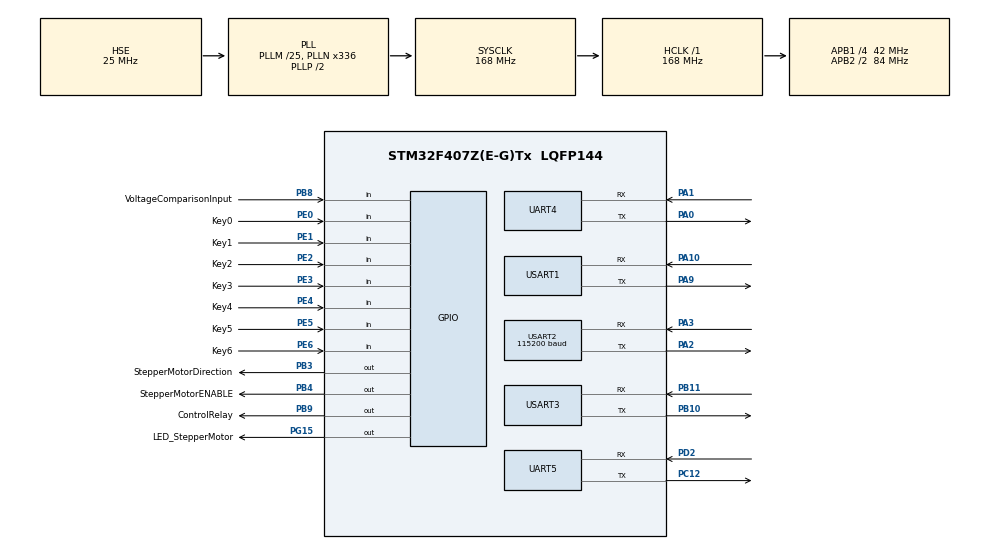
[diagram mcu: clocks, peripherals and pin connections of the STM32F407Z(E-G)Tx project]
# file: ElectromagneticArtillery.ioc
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Mcu.Family=STM32F4
Mcu.Name=STM32F407Z(E-G)Tx
Mcu.Package=LQFP144
NVIC.PriorityGroup=NVIC_PRIORITYGROUP_4
NVIC.TIM6_DAC_IRQn=true\:0\:0\:true\:false\:true\:true\:true
NVIC.UART4_IRQn=true\:3\:0\:true\:false\:true\:true\:true
NVIC.UART5_IRQn=true\:1\:0\:true\:false\:true\:true\:true
NVIC.USART2_IRQn=true\:0\:0\:true\:false\:true\:true\:true
NVIC.USART3_IRQn=true\:2\:0\:true\:false\:true\:true\:true
PA0-WKUP.Mode=Asynchronous
PA0-WKUP.Signal=UART4_TX
PA1.Mode=Asynchronous
PA1.Signal=UART4_RX
PA10.Mode=Asynchronous
PA10.Signal=USART1_RX
PA2.Mode=Asynchronous
PA2.Signal=USART2_TX
PA3.Mode=Asynchronous
PA3.Signal=USART2_RX
PA9.Mode=Asynchronous
PA9.Signal=USART1_TX
PB10.Mode=Asynchronous
PB10.Signal=USART3_TX
PB11.Mode=Asynchronous
PB11.Signal=USART3_RX
PB3.GPIO_Label=StepperMotorDirection
PB3.Signal=GPIO_Output
PB4.GPIO_Label=StepperMotorENABLE
PB4.PinState=GPIO_PIN_SET
PB4.Signal=GPIO_Output
PB8.GPIO_Label=VoltageComparisonInput
PB8.GPIO_PuPd=GPIO_PULLUP
PB8.Signal=GPIO_Input
PB9.GPIO_Label=ControlRelay
PB9.GPIO_PuPd=GPIO_NOPULL
PB9.PinState=GPIO_PIN_SET
PB9.Signal=GPIO_Output
PC12.Mode=Asynchronous
PC12.Signal=UART5_TX
PD2.Mode=Asynchronous
PD2.Signal=UART5_RX
PE0.GPIO_Label=Key0
PE0.GPIO_PuPd=GPIO_PULLUP
PE0.Signal=GPIO_Input
PE1.GPIO_Label=Key1
PE1.GPIO_PuPd=GPIO_PULLUP
PE1.Signal=GPIO_Input
PE2.GPIO_Label=Key2
PE2.GPIO_PuPd=GPIO_PULLUP
PE2.Signal=GPIO_Input
PE3.GPIO_Label=Key3
PE3.GPIO_PuPd=GPIO_PULLUP
PE3.Signal=GPIO_Input
PE4.GPIO_Label=Key4
PE4.GPIO_PuPd=GPIO_PULLUP
PE4.Signal=GPIO_Input
PE5.GPIO_Label=Key5
PE5.GPIO_PuPd=GPIO_PULLUP
PE5.Signal=GPIO_Input
PE6.GPIO_Label=Key6
PE6.GPIO_PuPd=GPIO_PULLUP
PE6.Signal=GPIO_Input
PG15.GPIO_Label=LED_StepperMotor
PG15.PinState=GPIO_PIN_SET
PG15.Signal=GPIO_Output
PH0-OSC_IN.Mode=HSE-External-Oscillator
PH0-OSC_IN.Signal=RCC_OSC_IN
PH1-OSC_OUT.Mode=HSE-External-Oscillator
PH1-OSC_OUT.Signal=RCC_OSC_OUT
ProjectManager.HeapSize=0x200
ProjectManager.StackSize=0x400
ProjectManager.TargetToolchain=SW4STM32
RCC.48MHZClocksFreq_Value=84000000
RCC.AHBFreq_Value=168000000
RCC.APB1CLKDivider=RCC_HCLK_DIV4
RCC.APB1Freq_Value=42000000
RCC.APB1TimFreq_Value=84000000
RCC.APB2CLKDivider=RCC_HCLK_DIV2
RCC.APB2Freq_Value=84000000
RCC.APB2TimFreq_Value=168000000
RCC.CortexFreq_Value=168000000
RCC.HCLKFreq_Value=168000000
RCC.HSE_VALUE=25000000
RCC.HSI_VALUE=16000000
RCC.LSE_VALUE=32768
RCC.PLLM=25
RCC.PLLN=336
RCC.PLLSourceVirtual=RCC_PLLSOURCE_HSE
RCC.SYSCLKFreq_VALUE=168000000
RCC.SYSCLKSource=RCC_SYSCLKSOURCE_PLLCLK
RCC.VCOOutputFreq_Value=336000000
TIM6.AutoReloadPreload=TIM_AUTORELOAD_PRELOAD_ENABLE
TIM6.Period=9999
TIM6.Prescaler=83
UART4.VirtualMode=Asynchronous
UART5.VirtualMode=Asynchronous
USART1.VirtualMode=VM_ASYNC
USART2.BaudRate=115200
USART2.VirtualMode=VM_ASYNC
USART3.VirtualMode=VM_ASYNC
VP_TIM6_VS_ClockSourceINT.Mode=Enable_Timer
board=custom

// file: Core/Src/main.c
/* USER CODE BEGIN Header */
/**
  ******************************************************************************
  * @file           : main.c
  * @brief          : Main program body
  ******************************************************************************
  * @attention
  *
  * <h2><center>&copy; Copyright (c) 2020 STMicroelectronics.
  * All rights reserved.</center></h2>
  *
  * This software component is licensed by ST under BSD 3-Clause license,
  * the "License"; You may not use this file except in compliance with the
  * License. You may obtain a copy of the License at:
  *                        opensource.org/licenses/BSD-3-Clause
  *
  ******************************************************************************
  */
/* USER CODE END Header */
#include "main.h"
#include "tim.h"
#include "usart.h"
#include "gpio.h"

/* USER CODE BEGIN Includes */
#include "SerialServo.h"
#include "Timer.h"
#include "UsartScreen.h"
#include "NCMeasurement.h"
#include "ReceiveADS1292R.h"
#include "RasPiCommunication.h"
#include "usrt.h"
#include "scheduler.h"
/* USER CODE END Includes */

/* USER CODE BEGIN PV */
uint8_t KeyValue;
/* USER CODE END PV */

void SystemClock_Config(void);

int main(void)
{

  /* MCU Configuration--------------------------------------------------------*/

  /* Reset of all peripherals, Initializes the Flash interface and the Systick. */
  HAL_Init();

  /* Configure the system clock */
  SystemClock_Config();

  /* Initialize all configured peripherals */
  MX_GPIO_Init();
  MX_TIM6_Init();
  MX_USART1_UART_Init();
  MX_USART3_UART_Init();
  MX_USART2_UART_Init();
  MX_UART4_Init();
  MX_UART5_Init();
  /* USER CODE BEGIN 2 */
    HAL_TIM_Base_Start_IT(&htim6);                                                           //步进电机                                                       //步进电机
    HAL_UART_Receive_IT(&ScreenUart, (uint8_t *)aRxBuffer, RXBUFFERSIZE);                    //串口屏
    HAL_UART_Receive_IT(&ADS1292RUart, (uint8_t *)ADS1292R_aRxBuffer, ADS1292R_RXBUFFERSIZE);//Tof
    HAL_UART_Receive_IT(&huart5,RASPI_UART_EMPTY,18);                                   //树莓派
    HAL_UART_Receive_IT(&SERVO_READUSART, SerialServo_usart, 8);                        //串口舵机

    StepperMotorStart();                                //步进电机启动（抱死状态）
//    StepperMotorStop();                               //步进电机停止（自由状态）
//    StepperMotorMove(2000,499,1);
//    while(1);
    SerialServomode(0,0,0);            //设置舵机为舵机模式
    SerialServoMove(0,360,0);         //舵机移动

    Scheduler_Setup();
  /* USER CODE END 2 */

  /* Infinite loop */
  /* USER CODE BEGIN WHILE */
#pragma clang diagnostic push
#pragma ide diagnostic ignored "EndlessLoop"
  while (1)
  {
      Scheduler_Run();
      SamplingTest();
      NCMeasurement(CannonMode);
//      JudgeUsartScreenReceived();
//      if(flag_RasPi_Receive==1)
//      {
//          TrackCentralPoint(PITCHER_CENTRAL_POINT, centre_x);
//          HAL_Delay(50);
//          flag_RasPi_Receive=0;
//      }
//      printf("shape:%d  distance:%f color:%d area:%d\r\n",shape,DISTANCE,color,area);
//      printf("%f\r\n",CalculateSideLength(shape,DISTANCE,area));
//      HAL_Delay(10);
//      printf("%f\r\n",CalculateSideLength(3,3.02,25800));
//      printf("%f\r\n\r\n",CalculateSideLength(3,3.02,25900));

//    if(STEPS<=-666)
//    {
//        StepperMotorMove(1332, 5999, 1);
//        while(STEPS<666);
//    }
//    else if(STEPS>=666)
//    {
//        StepperMotorMove(1332, 5999, 0);
//        while(STEPS>-666);
//    }
    /* USER CODE END WHILE */

    /* USER CODE BEGIN 3 */
  }
#pragma clang diagnostic pop
  /* USER CODE END 3 */
}

void SystemClock_Config(void)
{
  RCC_OscInitTypeDef RCC_OscInitStruct = {0};
  RCC_ClkInitTypeDef RCC_ClkInitStruct = {0};

  /** Configure the main internal regulator output voltage
  */
  __HAL_RCC_PWR_CLK_ENABLE();
  __HAL_PWR_VOLTAGESCALING_CONFIG(PWR_REGULATOR_VOLTAGE_SCALE1);
  /** Initializes the RCC Oscillators according to the specified parameters
  * in the RCC_OscInitTypeDef structure.
  */
  RCC_OscInitStruct.OscillatorType = RCC_OSCILLATORTYPE_HSE;
  RCC_OscInitStruct.HSEState = RCC_HSE_ON;
  RCC_OscInitStruct.PLL.PLLState = RCC_PLL_ON;
  RCC_OscInitStruct.PLL.PLLSource = RCC_PLLSOURCE_HSE;
  RCC_OscInitStruct.PLL.PLLM = 25;
  RCC_OscInitStruct.PLL.PLLN = 336;
  RCC_OscInitStruct.PLL.PLLP = RCC_PLLP_DIV2;
  RCC_OscInitStruct.PLL.PLLQ = 4;
  if (HAL_RCC_OscConfig(&RCC_OscInitStruct) != HAL_OK)
  {
    Error_Handler();
  }
  /** Initializes the CPU, AHB and APB buses clocks
  */
  RCC_ClkInitStruct.ClockType = RCC_CLOCKTYPE_HCLK|RCC_CLOCKTYPE_SYSCLK
                              |RCC_CLOCKTYPE_PCLK1|RCC_CLOCKTYPE_PCLK2;
  RCC_ClkInitStruct.SYSCLKSource = RCC_SYSCLKSOURCE_PLLCLK;
  RCC_ClkInitStruct.AHBCLKDivider = RCC_SYSCLK_DIV1;
  RCC_ClkInitStruct.APB1CLKDivider = RCC_HCLK_DIV4;
  RCC_ClkInitStruct.APB2CLKDivider = RCC_HCLK_DIV2;

  if (HAL_RCC_ClockConfig(&RCC_ClkInitStruct, FLASH_LATENCY_5) != HAL_OK)
  {
    Error_Handler();
  }
}

void Error_Handler(void)
{
}

/************************ (C) COPYRIGHT STMicroelectronics *****END OF FILE****/
